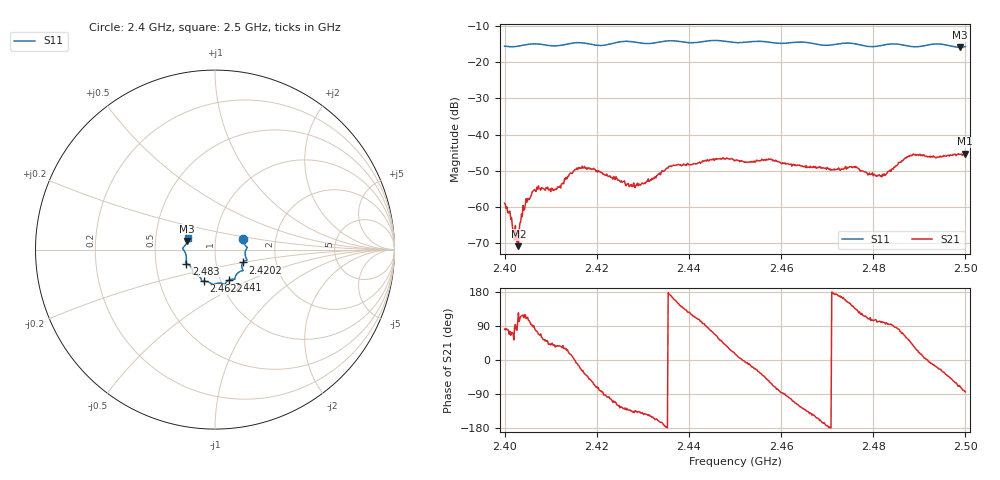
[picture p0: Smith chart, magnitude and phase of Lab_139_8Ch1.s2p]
# Hz S RI R 50
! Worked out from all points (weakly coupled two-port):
!   601 points, 2.4 GHz to 2.5 GHz, reference 50 ohm
!   highest |S21| = -45.27 dB at 2.4998 GHz (marker M1); lowest = -70.9 dB at 2.403 GHz (marker M2)
!   lowest |S11| = -15.8 dB at 2.4988 GHz (marker M3), VSWR 1.39, Z = 36.4 + j3.46 ohm
!   |S11| at or under -10 dB: start of sweep to end of sweep
!   S12 and S22 are empty: the file has one direction only
!   S11 on the Smith chart (normalised r, x): 2.4 GHz: 1.36, +0.17; 2.4202 GHz: 1.35, -0.20; 2.441 GHz: 1.09, -0.39; 2.4622 GHz: 0.83, -0.30; 2.483 GHz: 0.72, -0.12; 2.5 GHz: 0.73, +0.09
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2.4e9  0.1564 0.0603  0.000168 0.00111  0 0  0 0
2.401e9  0.1576 0.0483  0.000329 0.000798  0 0  0 0
2.4025e9  0.1632 0.0311  5.94e-05 0.00039  0 0  0 0
2.403e9  0.1657 0.0267  -0.000161 0.000235  0 0  0 0
2.4045e9  0.174 0.0173  -0.000529 0.000969  0 0  0 0
2.4065e9  0.1798 0.0127  0.000187 0.00172  0 0  0 0
2.411e9  0.1676 -0.0187  0.00146 0.000995  0 0  0 0
2.416667e9  0.1775 -0.0584  0.00307 -0.00152  0 0  0 0
2.420167e9  0.1559 -0.0718  0.000826 -0.0029  0 0  0 0
2.427333e9  0.1546 -0.1171  -0.00136 -0.00149  0 0  0 0
2.433333e9  0.1129 -0.1523  -0.00264 -0.001  0 0  0 0
2.436167e9  0.1103 -0.1653  -0.00354 0.000694  0 0  0 0
2.441e9  0.0768 -0.1705  -0.00165 0.0036  0 0  0 0
2.45e9  0.0266 -0.1862  0.00422 0.00123  0 0  0 0
2.462167e9  -0.063 -0.1763  -0.000865 -0.00382  0 0  0 0
2.466667e9  -0.0765 -0.167  -0.00288 -0.00201  0 0  0 0
2.483e9  -0.1591 -0.0779  -0.00033 0.00291  0 0  0 0
2.483333e9  -0.1607 -0.0772  -0.00026 0.00309  0 0  0 0
2.4885e9  -0.1595 -0.0418  0.0039 0.00341  0 0  0 0
2.498833e9  -0.1551 0.0463  0.00184 -0.00498  0 0  0 0
2.499833e9  -0.1531 0.0606  0.000679 -0.00541  0 0  0 0
2.5e9  -0.1529 0.0627  0.000551 -0.00538  0 0  0 0
